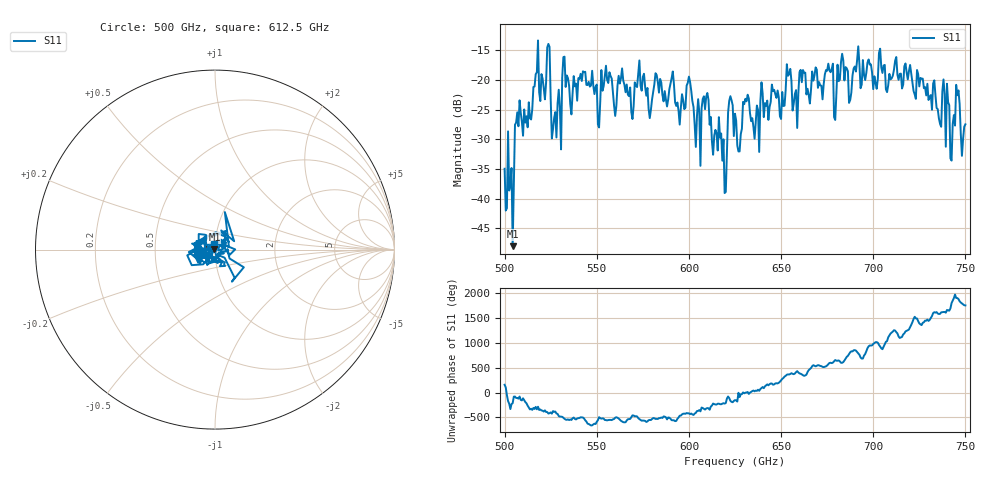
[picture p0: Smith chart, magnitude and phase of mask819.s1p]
!Created with skrf (http://scikit-rf.org).
# GHz S MA R 50.0
!freq magS11 angS11
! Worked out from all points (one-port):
!   401 points, 500 GHz to 750 GHz, reference 50 ohm
!   lowest |S11| = -48.0 dB at 504.4 GHz (marker M1), VSWR 1.01, Z = 49.7 + j0.214 ohm
!   |S11| at or under -10 dB: start of sweep to end of sweep
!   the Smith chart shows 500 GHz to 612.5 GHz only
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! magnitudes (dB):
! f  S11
! 500 GHz  -34.9
! 504.4 GHz  -48.0
! 506.9 GHz  -25.4
! 513.8 GHz  -26.4
! 516.9 GHz  -19.0
! 523.8 GHz  -13.9
! 526.9 GHz  -26.4
! 531.2 GHz  -19.6
! 542.5 GHz  -18.5
! 550.6 GHz  -27.5
! 562.5 GHz  -20.6
! 579.4 GHz  -25.0
! 590.6 GHz  -19.6
! 593.8 GHz  -23.8
! 600 GHz  -19.4
! 605 GHz  -23.2
! 609.4 GHz  -22.8
! 619.4 GHz  -39.0
! 622.5 GHz  -22.7
! 625 GHz  -25.7
! 656.2 GHz  -25.1
! 676.9 GHz  -18.7
! 680 GHz  -22.4
! 683.8 GHz  -16.7
! 687.5 GHz  -23.3
! 691.2 GHz  -16.6
! 718.8 GHz  -19.9
! 750 GHz  -27.4
